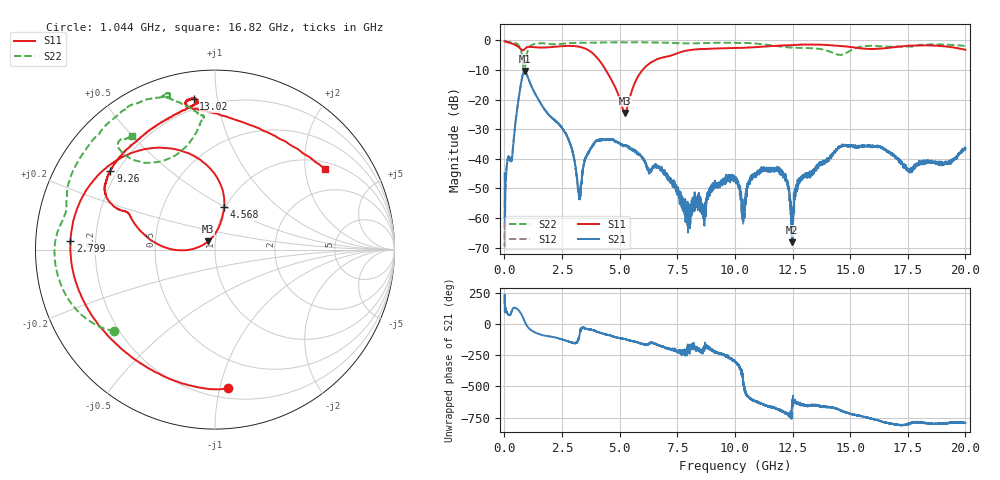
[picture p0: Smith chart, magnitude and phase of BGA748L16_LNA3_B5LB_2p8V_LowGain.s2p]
! S-Parameter file
! MATLAB S2P writer
! (c) DICE Linz
! Infineon Technologies
! Date: 08.04.2010 13:00
!BGA748L16_final_LB
!2.80V; 0.00V;
!25.00 deg
# MHZ S MA R 50
!  S11  S21  S12  S22
!  f  mag  angle  mag  angle  mag  angle  mag  angle
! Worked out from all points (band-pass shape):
!   4001 points, 10 MHz to 20 GHz, reference 50 ohm
!   highest |S21| = -10.37 dB at 874.6 MHz (marker M1); lowest = -68.1 dB at 12.47 GHz (marker M2)
!   |S21| within 3 dB of the highest: 747.8 MHz to 1.062 GHz (314.2 MHz wide, 34.7 % of centre)
!   lowest |S11| = -24.5 dB at 5.227 GHz (marker M3), VSWR 1.13, Z = 46.2 + j4.24 ohm
!   |S11| at or under -10 dB: 4.399 GHz to 5.995 GHz (1.596 GHz wide, 30.7 % of centre)
!   |S22| runs from -11.4 to 0.0 dB; largest |S21 - S12| = 0.005
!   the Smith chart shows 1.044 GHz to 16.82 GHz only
!   S11 on the Smith chart (normalised r, x): 1.044 GHz: 0.27, -1.06; 2.799 GHz: 0.11, +0.03; 4.568 GHz: 0.98, +0.50; 9.26 GHz: 0.17, +0.33; 13.02 GHz: 0.14, +0.86; 16.82 GHz: 1.18, +2.55
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10  0.963 -1.1  0.005667 169.0  0.001997 -129.0  0.9967 -4.9
229.89  0.9093 -24.9  0.01032 70.5  0.01053 69.4  0.9306 -83.8
499.755  0.824 -50.9  0.0472 127.3  0.04713 127.0  0.8917 -140.4
874.5675  0.7091 -70.2  0.3031 22.5  0.3032 22.4  0.2901 -143.7
1044.483  0.7773 -84.5  0.2235 -30.5  0.2241 -30.6  0.721 -141.0
2798.605  0.8067 176.6  0.02024 -141.8  0.02044 -142.4  0.8958 155.4
3343.332  0.7654 145.1  0.00374 -31.9  0.004091 -35.7  0.9095 144.8
4567.72  0.2436 78.0  0.02077 -91.5  0.02102 -91.4  0.9231 127.6
5227.39  0.05923 129.4  0.0168 -120.0  0.01681 -120.4  0.925 122.6
6676.665  0.4904 160.4  0.006949 -168.9  0.007334 -168.9  0.9212 115.6
7971.017  0.6792 153.5  0.001058 172.7  0.0009131 145.2  0.8879 107.1
9260.372  0.7305 142.9  0.003232 128.8  0.003597 126.8  0.9096 106.6
10005  0.744 131.3  0.004925 57.3  0.004595 57.3  0.907 108.3
10369.82  0.7489 124.0  0.001606 -112.5  0.001006 -107.9  0.9021 109.1
10749.63  0.7645 116.0  0.004543 111.9  0.004887 110.4  0.8936 107.8
11899.05  0.8149 98.4  0.006864 32.1  0.006492 34.4  0.7919 99.3
12473.76  0.8335 96.8  0.0003918 49.2  0.0006777 30.0  0.7562 96.1
13018.49  0.8486 98.0  0.005475 70.1  0.005141 67.5  0.7425 94.7
13338.33  0.8513 99.1  0.006108 68.1  0.005675 69.3  0.7355 95.3
16671.67  0.7489 39.7  0.01363 -76.5  0.01299 -75.2  0.7862 126.9
16821.59  0.7619 36.4  0.01229 -81.2  0.01205 -79.4  0.7847 125.9
20000  0.6936 24.4  0.01527 -73.5  0.01539 -72.9  0.8044 117.4
